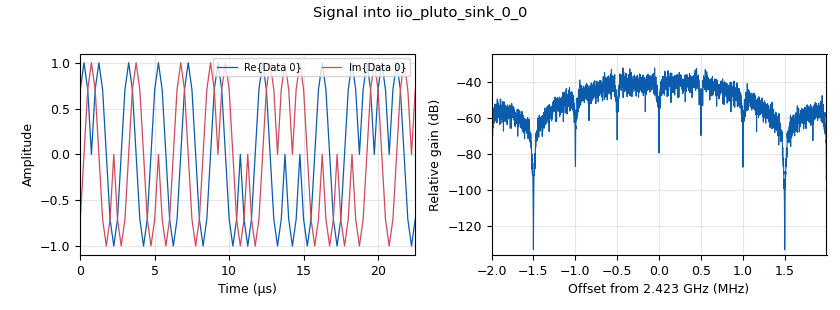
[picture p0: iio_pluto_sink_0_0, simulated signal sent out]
options:
  parameters:
    generate_options: qt_gui
    id: OQPSK_pluto2pluto
    output_language: python
    title: OQPSK_pluto2pluto
  states: {}

blocks:
- name: center_freq
  id: variable
  parameters:
    value: int(2423e6)
  states: {}
- name: constellation
  id: variable_constellation
  parameters:
    precision: '8'
    type: qpsk
  states: {}
- name: fsk_deviation_hz
  id: variable
  parameters:
    value: int(500e3)
  states: {}
- name: offset
  id: variable_qtgui_range
  parameters:
    comment: increased range with FLL
    gui_hint: 6,0
    start: '-500e3'
    step: 1e3
    stop: 500e3
    value: '0'
  states: {}
- name: plot_N
  id: variable
  parameters:
    value: '50000'
  states: {}
- name: rx_gain
  id: variable_qtgui_range
  parameters:
    start: '0'
    step: '1'
    stop: '70'
    value: '20'
  states: {}
- name: samp_rate
  id: variable
  parameters:
    value: int(4e6)
  states: {}
- name: sps
  id: variable
  parameters:
    value: '4'
  states: {}
- name: tuning_LPF_cutoff_kHz
  id: variable_qtgui_range
  parameters:
    comment: |-
      Default value: 2MHz (4MHz in total)
      Assume 4MHz sampling eventually
    gui_hint: 13,0
    start: '1000'
    step: '1'
    stop: '2000'
    value: '2000'
  states: {}
- name: tx_attenuation
  id: variable_qtgui_range
  parameters:
    start: '0'
    step: '1'
    stop: '89'
    value: '10'
  states: {}
- name: analog_agc_xx_1_0
  id: analog_agc_xx
  parameters:
    gain: '1.0'
    max_gain: '65536'
    rate: '1e-4'
    reference: '1.0'
    type: complex
  states: {}
- name: analog_random_source_x_0
  id: analog_random_source_x
  parameters:
    max: '256'
    min: '0'
    num_samps: 1024//8
    repeat: 'True'
    type: byte
  states: {}
- name: analog_sig_source_x_0_0
  id: analog_sig_source_x
  parameters:
    amp: '1'
    freq: offset
    offset: '0'
    phase: '0'
    samp_rate: samp_rate
    type: complex
    waveform: analog.GR_COS_WAVE
  states: {}
- name: blocks_complex_to_float_0
  id: blocks_complex_to_float
  parameters: {}
  states: {}
- name: blocks_complex_to_float_0_0
  id: blocks_complex_to_float
  parameters: {}
  states: {}
- name: blocks_delay_0
  id: blocks_delay
  parameters:
    delay: '2'
    type: float
  states: {}
- name: blocks_delay_0_0
  id: blocks_delay
  parameters:
    comment: |-
      Assume sampling 
      rate integer multiple 
      of symbol rate
    delay: int(sps/2)
    type: float
  states: {}
- name: blocks_float_to_complex_0
  id: blocks_float_to_complex
  parameters:
    minoutbuf: 2**16
  states: {}
- name: blocks_float_to_complex_0_0
  id: blocks_float_to_complex
  parameters:
    minoutbuf: 2**16
  states: {}
- name: blocks_multiply_xx_0
  id: blocks_multiply_xx
  parameters:
    type: complex
  states: {}
- name: blocks_multiply_xx_0_0
  id: blocks_multiply_xx
  parameters:
    type: complex
  states: {}
- name: blocks_packed_to_unpacked_xx_0_0
  id: blocks_packed_to_unpacked_xx
  parameters:
    bits_per_chunk: '4'
    endianness: gr.GR_LSB_FIRST
    type: byte
  states: {}
- name: blocks_repeat_0
  id: blocks_repeat
  parameters:
    interp: '4'
    type: complex
  states: {}
- name: blocks_vector_source_x_0
  id: blocks_vector_source_x
  parameters:
    repeat: 'True'
    type: complex
    vector: '[0, sin(pi/4), 1, sin(3*pi/4)]'
  states: {}
- name: digital_chunks_to_symbols_xx_0
  id: digital_chunks_to_symbols_xx
  parameters:
    dimension: '16'
    in_type: byte
    out_type: complex
    symbol_table: '[(1+1j), (-1+1j), (1-1j), (-1+1j), (1+1j), (-1-1j), (-1-1j), (1+1j), (-1+1j), (-1+1j), (-1-1j), (1-1j), (-1-1j), (1-1j), (1+1j), (1-1j), (1-1j), (-1-1j), (1+1j), (-1-1j), (1-1j), (-1+1j), (-1+1j), (1-1j), (-1-1j), (-1-1j), (-1+1j), (1+1j), (-1+1j), (1+1j), (1-1j), (1+1j), (-1+1j), (-1+1j), (-1-1j), (1-1j), (-1-1j), (1-1j), (1+1j), (1-1j), (1+1j), (-1+1j), (1-1j), (-1+1j), (1+1j), (-1-1j), (-1-1j), (1+1j), (-1-1j), (-1-1j), (-1+1j), (1+1j), (-1+1j), (1+1j), (1-1j), (1+1j), (1-1j), (-1-1j), (1+1j), (-1-1j), (1-1j), (-1+1j), (-1+1j), (1-1j), (-1-1j), (1-1j), (1+1j), (1-1j), (1+1j), (-1+1j), (1-1j), (-1+1j), (1+1j), (-1-1j), (-1-1j), (1+1j), (-1+1j), (-1+1j), (-1-1j), (1-1j), (-1+1j), (1+1j), (1-1j), (1+1j), (1-1j), (-1-1j), (1+1j), (-1-1j), (1-1j), (-1+1j), (-1+1j), (1-1j), (-1-1j), (-1-1j), (-1+1j), (1+1j), (1+1j), (-1-1j), (-1-1j), (1+1j), (-1+1j), (-1+1j), (-1-1j), (1-1j), (-1-1j), (1-1j), (1+1j), (1-1j), (1+1j), (-1+1j), (1-1j), (-1+1j), (1-1j), (-1+1j), (-1+1j), (1-1j), (-1-1j), (-1-1j), (-1+1j), (1+1j), (-1+1j), (1+1j), (1-1j), (1+1j), (1-1j), (-1-1j), (1+1j), (-1-1j), (1+1j), (1-1j), (1+1j), (-1+1j), (1-1j), (-1+1j), (1+1j), (-1-1j), (-1-1j), (1+1j), (-1+1j), (-1+1j), (-1-1j), (1-1j), (-1-1j), (1-1j), (1-1j), (1+1j), (1-1j), (-1-1j), (1+1j), (-1-1j), (1-1j), (-1+1j), (-1+1j), (1-1j), (-1-1j), (-1-1j), (-1+1j), (1+1j), (-1+1j), (1+1j), (-1-1j), (1+1j), (-1+1j), (-1+1j), (-1-1j), (1-1j), (-1-1j), (1-1j), (1+1j), (1-1j), (1+1j), (-1+1j), (1-1j), (-1+1j), (1+1j), (-1-1j), (-1+1j), (1-1j), (-1-1j), (-1-1j), (-1+1j), (1+1j), (-1+1j), (1+1j), (1-1j), (1+1j), (1-1j), (-1-1j), (1+1j), (-1-1j), (1-1j), (-1+1j), (-1-1j), (1-1j), (-1-1j), (1-1j), (1+1j), (1-1j), (1+1j), (-1+1j), (1-1j), (-1+1j), (1+1j), (-1-1j), (-1-1j), (1+1j), (-1+1j), (-1+1j), (-1+1j), (1+1j), (-1+1j), (1+1j), (1-1j), (1+1j), (1-1j), (-1-1j), (1+1j), (-1-1j), (1-1j), (-1+1j), (-1+1j), (1-1j), (-1-1j), (-1-1j), (1-1j), (-1+1j), (1+1j), (-1-1j), (-1-1j), (1+1j), (-1+1j), (-1+1j), (-1-1j), (1-1j), (-1-1j), (1-1j), (1+1j), (1-1j), (1+1j), (-1+1j), (1+1j), (-1-1j), (1-1j), (-1+1j), (-1+1j), (1-1j), (-1-1j), (-1-1j), (-1+1j), (1+1j), (-1+1j), (1+1j), (1-1j), (1+1j), (1-1j), (-1-1j)]'
  states: {}
- name: digital_costas_loop_cc_0_0
  id: digital_costas_loop_cc
  parameters:
    order: constellation.arity()
    w: 2*pi/50
  states: {}
- name: digital_symbol_sync_xx_1
  id: digital_symbol_sync_xx
  parameters:
    damping: '1.0'
    loop_bw: 0.045/2
    max_dev: '0.1'
    nfilters: '64'
    osps: '1'
    pfb_mf_taps: np.sin(np.linspace(0, np.pi, sps + 1)) / np.sum(np.sin(np.linspace(0, np.pi, sps + 1)))
    resamp_type: digital.IR_PFB_NO_MF
    sps: sps
    ted_gain: '1.0'
    ted_type: digital.TED_GARDNER
    type: cc
  states: {}
- name: fir_filter_xxx_0
  id: fir_filter_xxx
  parameters:
    comment: |-
      Matched filter: half-sine shape
      sps + 1: this way the taps are symmetrical,
      from zero to zero, covering the whole symbol
    decim: '1'
    taps: np.sin(np.linspace(0, np.pi, sps + 1)) / np.sum(np.sin(np.linspace(0, np.pi, sps + 1)))
    type: ccc
  states: {state: bypassed}
- name: iio_pluto_sink_0_0
  id: iio_pluto_sink
  parameters:
    attenuation1: tx_attenuation
    bandwidth: int(samp_rate)
    buffer_size: '32768'
    cyclic: 'False'
    filter_source: '''Auto'''
    frequency: int(center_freq)
    samplerate: int(samp_rate)
    type: fc32
    uri: 192.168.2.1
  states: {}
- name: iio_pluto_source_0
  id: iio_pluto_source
  parameters:
    bandwidth: '20000000'
    bbdc: 'True'
    buffer_size: '32768'
    filter_source: '''Auto'''
    frequency: center_freq
    gain1: '''manual'''
    manual_gain1: rx_gain
    quadrature: 'True'
    rfdc: 'True'
    samplerate: samp_rate
    type: fc32
    uri: 192.168.2.1
  states: {}
- name: import_0
  id: import
  parameters:
    imports: from math import sin, pi
  states: {}
- name: import_0_0
  id: import
  parameters:
    imports: import numpy as np
  states: {}
- name: low_pass_filter_0_0
  id: low_pass_filter
  parameters:
    cutoff_freq: tuning_LPF_cutoff_kHz*1000
    decim: '1'
    gain: '1'
    interp: '100'
    samp_rate: samp_rate
    type: fir_filter_ccf
    width: samp_rate/100
    win: window.WIN_HAMMING
  states: {}
- name: qtgui_const_sink_x_0_0_0
  id: qtgui_const_sink_x
  parameters:
    comment: makes most sense if "Output Samples/Symbol" is 1
    gui_hint: 0,0
    label1: after Symbol Sync
    label2: after Costas
    nconnections: '2'
    size: '1024'
    type: complex
    xmax: '4'
    xmin: '-4'
  states: {}
- name: qtgui_eye_sink_x_0_0_0_0
  id: qtgui_eye_sink_x
  parameters:
    gui_hint: 1,0
    label1: Eye Diagram after Costas Re
    label2: Eye Diagram after Costas  Im
    marker1: '0'
    marker2: '0'
    samp_per_symbol: '1'
    size: '1024'
    srate: samp_rate/sps
    type: complex
    ymax: '2'
    ymin: '-2'
  states: {}
- name: qtgui_time_sink_x_0_0
  id: qtgui_time_sink_x
  parameters:
    label1: Receive Raw Re
    label2: Receive Raw Im
    size: 1024*8
    srate: samp_rate
    type: complex
  states: {}
- name: qtgui_time_sink_x_0_0_0_0_0_0_0
  id: qtgui_time_sink_x
  parameters:
    gui_hint: 1,1
    label1: Receive after Costas Re
    label2: Receive after Costas Im
    marker1: '0'
    marker2: '0'
    size: int(plot_N * 2 / 5 /4)
    srate: samp_rate/sps
    type: complex
    ymax: '2'
    ymin: '-2'
  states: {}
- name: qtgui_waterfall_sink_x_0
  id: qtgui_waterfall_sink_x
  parameters:
    bw: samp_rate
    fc: '0'
    fftsize: '2048'
    gui_hint: 0,1
    type: complex
  states: {}
- name: virtual_sink_0
  id: virtual_sink
  parameters: {}
  states: {}
- name: virtual_source_0
  id: virtual_source
  parameters: {}
  states: {}

connections:
- [analog_agc_xx_1_0, '0', virtual_sink_0, '0']
- [analog_random_source_x_0, '0', blocks_packed_to_unpacked_xx_0_0, '0']
- [analog_sig_source_x_0_0, '0', blocks_multiply_xx_0_0, '1']
- [blocks_complex_to_float_0, '0', blocks_float_to_complex_0, '0']
- [blocks_complex_to_float_0, '1', blocks_delay_0, '0']
- [blocks_complex_to_float_0_0, '0', blocks_delay_0_0, '0']
- [blocks_complex_to_float_0_0, '1', blocks_float_to_complex_0_0, '1']
- [blocks_delay_0, '0', blocks_float_to_complex_0, '1']
- [blocks_delay_0_0, '0', blocks_float_to_complex_0_0, '0']
- [blocks_float_to_complex_0, '0', iio_pluto_sink_0_0, '0']
- [blocks_float_to_complex_0_0, '0', analog_agc_xx_1_0, '0']
- [blocks_multiply_xx_0, '0', blocks_complex_to_float_0, '0']
- [blocks_multiply_xx_0_0, '0', blocks_complex_to_float_0_0, '0']
- [blocks_multiply_xx_0_0, '0', qtgui_waterfall_sink_x_0, '0']
- [blocks_packed_to_unpacked_xx_0_0, '0', digital_chunks_to_symbols_xx_0, '0']
- [blocks_repeat_0, '0', blocks_multiply_xx_0, '0']
- [blocks_vector_source_x_0, '0', blocks_multiply_xx_0, '1']
- [digital_chunks_to_symbols_xx_0, '0', blocks_repeat_0, '0']
- [digital_costas_loop_cc_0_0, '0', qtgui_const_sink_x_0_0_0, '1']
- [digital_costas_loop_cc_0_0, '0', qtgui_eye_sink_x_0_0_0_0, '0']
- [digital_costas_loop_cc_0_0, '0', qtgui_time_sink_x_0_0_0_0_0_0_0, '0']
- [digital_symbol_sync_xx_1, '0', digital_costas_loop_cc_0_0, '0']
- [digital_symbol_sync_xx_1, '0', qtgui_const_sink_x_0_0_0, '0']
- [fir_filter_xxx_0, '0', digital_symbol_sync_xx_1, '0']
- [iio_pluto_source_0, '0', low_pass_filter_0_0, '0']
- [iio_pluto_source_0, '0', qtgui_time_sink_x_0_0, '0']
- [low_pass_filter_0_0, '0', blocks_multiply_xx_0_0, '0']
- [virtual_source_0, '0', fir_filter_xxx_0, '0']

metadata:
  file_format: 1
  grc_version: v3.11.0.0git-843-g6b25c171
